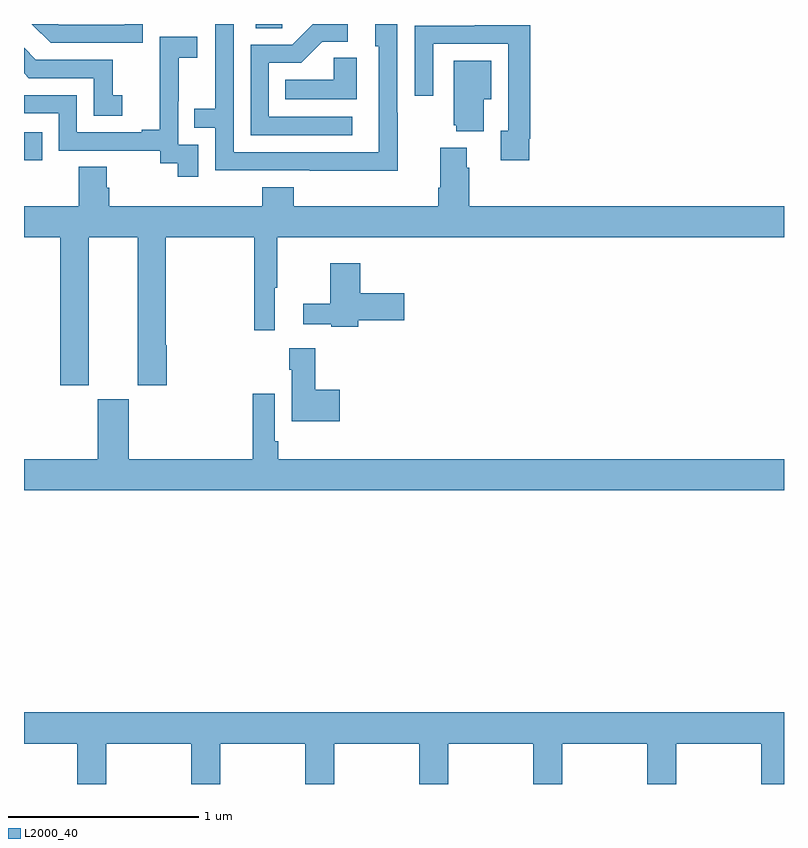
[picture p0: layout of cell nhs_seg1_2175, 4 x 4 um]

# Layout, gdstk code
import gdstk
lib = gdstk.Library(unit=1e-6, precision=1e-09)
def R(c, l, rs):  # rectangles x0, y0, x1, y1
    for r in rs: c.add(gdstk.rectangle(r[:2], r[2:], *l))
def P(c, l, *ps):  # polygons
    for p in ps: c.add(gdstk.Polygon(p, *l))
L2000_40 = (2000, 40)

nhs_seg1_2175 = lib.new_cell('nhs_seg1_2175')
R(nhs_seg1_2175, L2000_40, [(229,541.482,229.097,541.629), (230.219,542.176,230.358,542.199)])
P(nhs_seg1_2175, L2000_40, [(230.967,541.733),(230.964,541.733),(230.964,542.199),(230.849,542.199),(230.849,542.082),(230.868,542.082),(230.868,541.524),(230.103,541.524),(230.103,542.199),(230.007,542.199),(230.007,541.754),(229.897,541.754),(229.897,541.653),(230.007,541.653),(230.007,541.428),(230.503,541.428),(230.503,541.427),(230.967,541.427)],
  [(229.626,542.199),(229.529,542.199),(229.529,542.196),(229.182,542.196),(229.179,542.199),(229.041,542.199),(229.14,542.1),(229.626,542.1)],
  [(230.728,541.71),(230.289,541.71),(230.289,541.995),(230.458,541.995),(230.569,542.106),(230.704,542.106),(230.704,542.199),(230.52,542.199),(230.412,542.091),(230.193,542.091),(230.193,541.614),(230.728,541.614)],
  [(231.658,541.594),(231.665,541.594),(231.665,542.192),(231.373,542.192),(231.373,542.19),(231.057,542.19),(231.057,541.821),(231.153,541.821),(231.153,542.094),(231.549,542.094),(231.549,541.638),(231.509,541.638),(231.509,541.482),(231.658,541.482)],
  [(229.917,541.563),(229.812,541.563),(229.812,541.793),(229.814,541.793),(229.814,542.021),(229.912,542.021),(229.912,542.131),(229.714,542.131),(229.714,541.925),(229.715,541.925),(229.715,541.642),(229.619,541.642),(229.619,541.629),(229.278,541.629),(229.278,541.824),(229,541.824),(229,541.728),(229.182,541.728),(229.182,541.533),(229.716,541.533),(229.716,541.465),(229.809,541.465),(229.809,541.395),(229.917,541.395)],
  [(229.516,541.825),(229.467,541.825),(229.467,542.01),(229.063,542.01),(229,542.073),(229,541.94),(229.026,541.914),(229.368,541.914),(229.368,541.716),(229.516,541.716)],
  [(230.752,542.021),(230.631,542.021),(230.631,541.906),(230.374,541.906),(230.374,541.802),(230.752,541.802)],
  [(231.421,541.802),(231.46,541.802),(231.46,542.005),(231.263,542.005),(231.263,541.665),(231.275,541.665),(231.275,541.634),(231.421,541.634)],
  [(229.342,541.076),(229.598,541.076),(229.598,540.297),(229.751,540.297),(229.751,540.509),(229.746,540.509),(229.746,541.076),(230.211,541.076),(230.211,540.588),(230.32,540.588),(230.32,540.811),(230.332,540.811),(230.332,541.076),(233,541.076),(233,541.24),(231.344,541.24),(231.344,541.442),(231.331,541.442),(231.331,541.549),(231.191,541.549),(231.191,541.336),(231.179,541.336),(231.179,541.24),(230.42,541.24),(230.42,541.339),(230.255,541.339),(230.255,541.24),(229.448,541.24),(229.448,541.338),(229.435,541.338),(229.435,541.448),(229.288,541.448),(229.288,541.24),(229,541.24),(229,541.076),(229.19,541.076),(229.19,540.297),(229.342,540.297)],
  [(230.758,540.641),(231.001,540.641),(231.001,540.783),(230.771,540.783),(230.771,540.94),(230.612,540.94),(230.612,540.727),(230.469,540.727),(230.469,540.618),(230.616,540.618),(230.616,540.606),(230.758,540.606)],
  [(230.662,540.274),(230.534,540.274),(230.534,540.493),(230.396,540.493),(230.396,540.38),(230.408,540.38),(230.408,540.107),(230.662,540.107)],
  [(233,539.908),(230.339,539.908),(230.339,540.004),(230.319,540.004),(230.319,540.253),(230.203,540.253),(230.203,539.908),(229.552,539.908),(229.552,540.225),(229.388,540.225),(229.388,539.908),(229,539.908),(229,539.744),(233,539.744)],
  [(229,538.412),(229.279,538.412),(229.279,538.199),(229.434,538.199),(229.434,538.412),(229.879,538.412),(229.879,538.199),(230.034,538.199),(230.034,538.412),(230.479,538.412),(230.479,538.199),(230.634,538.199),(230.634,538.412),(231.079,538.412),(231.079,538.199),(231.234,538.199),(231.234,538.412),(231.679,538.412),(231.679,538.199),(231.834,538.199),(231.834,538.412),(232.279,538.412),(232.279,538.199),(232.434,538.199),(232.434,538.412),(232.879,538.412),(232.879,538.199),(233,538.199),(233,538.576),(229,538.576)])

lib.write_gds('nhs_seg1_2175.gds')
